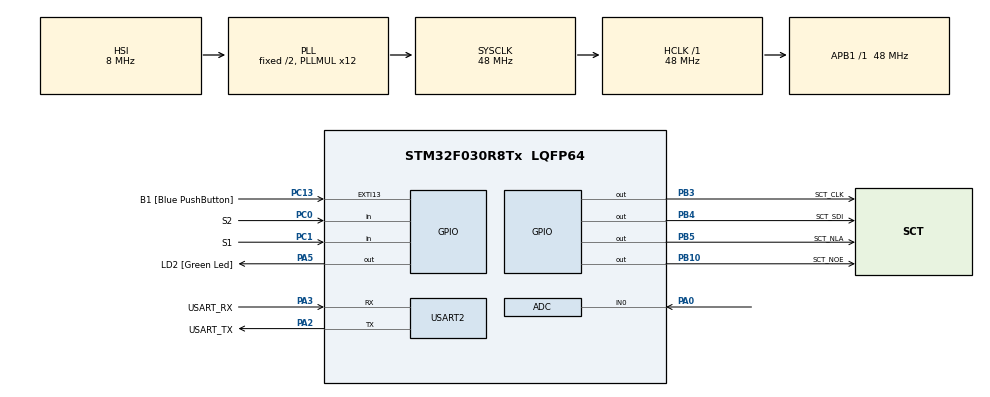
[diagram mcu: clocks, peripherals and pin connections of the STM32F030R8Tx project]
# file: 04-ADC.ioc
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ADC.ContinuousConvMode=ENABLE
ADC.Overrun=ADC_OVR_DATA_OVERWRITTEN
ADC.SamplingTime=ADC_SAMPLETIME_239CYCLES_5
Mcu.Family=STM32F0
Mcu.Name=STM32F030R8Tx
Mcu.Package=LQFP64
NVIC.ADC1_IRQn=true\:0\:0\:false\:false\:true\:true\:true\:true
PA0.Mode=IN0
PA0.Signal=ADC_IN0
PA13.GPIO_Label=TMS
PA13.Mode=Serial_Wire
PA13.Signal=SYS_SWDIO
PA14.GPIO_Label=TCK
PA14.Mode=Serial_Wire
PA14.Signal=SYS_SWCLK
PA2.GPIO_Label=USART_TX
PA2.GPIO_Mode=GPIO_MODE_AF_PP
PA2.GPIO_PuPd=GPIO_NOPULL
PA2.GPIO_Speed=GPIO_SPEED_FREQ_LOW
PA2.Mode=Asynchronous
PA2.Signal=USART2_TX
PA3.GPIO_Label=USART_RX
PA3.GPIO_Mode=GPIO_MODE_AF_PP
PA3.GPIO_PuPd=GPIO_NOPULL
PA3.GPIO_Speed=GPIO_SPEED_FREQ_LOW
PA3.Mode=Asynchronous
PA3.Signal=USART2_RX
PA5.GPIO_Label=LD2 [Green Led]
PA5.GPIO_Mode=GPIO_MODE_OUTPUT_PP
PA5.GPIO_PuPd=GPIO_NOPULL
PA5.GPIO_Speed=GPIO_SPEED_FREQ_LOW
PA5.Signal=GPIO_Output
PB10.GPIO_Label=SCT_NOE
PB10.Signal=GPIO_Output
PB3.GPIO_Label=SCT_CLK
PB3.Signal=GPIO_Output
PB4.GPIO_Label=SCT_SDI
PB4.Signal=GPIO_Output
PB5.GPIO_Label=SCT_NLA
PB5.Signal=GPIO_Output
PC0.GPIO_Label=S2
PC0.GPIO_PuPd=GPIO_PULLUP
PC0.Signal=GPIO_Input
PC1.GPIO_Label=S1
PC1.GPIO_PuPd=GPIO_PULLUP
PC1.Signal=GPIO_Input
PC13.GPIO_Label=B1 [Blue PushButton]
PC13.GPIO_ModeDefaultEXTI=GPIO_MODE_IT_FALLING
PC13.Signal=GPXTI13
PC14-OSC32_IN.Mode=LSE-External-Oscillator
PC14-OSC32_IN.Signal=RCC_OSC32_IN
PC15-OSC32_OUT.Mode=LSE-External-Oscillator
PC15-OSC32_OUT.Signal=RCC_OSC32_OUT
PF0-OSC_IN.Mode=HSE-External-Clock-Source
PF0-OSC_IN.Signal=RCC_OSC_IN
PF1-OSC_OUT.Signal=RCC_OSC_OUT
ProjectManager.HeapSize=0x200
ProjectManager.StackSize=0x400
ProjectManager.TargetToolchain=STM32CubeIDE
RCC.AHBFreq_Value=48000000
RCC.APB1Freq_Value=48000000
RCC.APB1TimFreq_Value=48000000
RCC.HCLKFreq_Value=48000000
RCC.PLLMUL=RCC_PLL_MUL12
RCC.SYSCLKFreq_VALUE=48000000
RCC.SYSCLKSource=RCC_SYSCLKSOURCE_PLLCLK
USART2.VirtualMode-Asynchronous=VM_ASYNC
VP_ADC_TempSens_Input.Mode=IN-TempSens
VP_ADC_Vref_Input.Mode=IN-Vrefint
board=NUCLEO-F030R8

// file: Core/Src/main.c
/* USER CODE BEGIN Header */
/**
  ******************************************************************************
  * @file           : main.c
  * @brief          : Main program body
  ******************************************************************************
  * @attention
  *
  * Copyright (c) 2024 STMicroelectronics.
  * All rights reserved.
  *
  * This software is licensed under terms that can be found in the LICENSE file
  * in the root directory of this software component.
  * If no LICENSE file comes with this software, it is provided AS-IS.
  *
  ******************************************************************************
  */
/* USER CODE END Header */
#include "main.h"

/* USER CODE BEGIN Includes */

#include "sct.h"

/* USER CODE END Includes */

/* USER CODE BEGIN PD */

#define ADC_Q 6

/* Temperature sensor calibration value address */
#define TEMP110_CAL_ADDR ((uint16_t*) ((uint32_t) 0x1FFFF7C2))
#define TEMP30_CAL_ADDR ((uint16_t*) ((uint32_t) 0x1FFFF7B8))
/* Internal voltage reference calibration value address */
#define VREFINT_CAL_ADDR ((uint16_t*) ((uint32_t) 0x1FFFF7BA))

/* USER CODE END PD */

ADC_HandleTypeDef hadc;

UART_HandleTypeDef huart2;

/* USER CODE BEGIN PV */

static volatile uint32_t raw_pot;
static volatile uint32_t raw_temp;
static volatile uint32_t raw_volt;

static uint32_t avg_pot;

/* USER CODE END PV */

void SystemClock_Config(void);
static void MX_GPIO_Init(void);
static void MX_USART2_UART_Init(void);
static void MX_ADC_Init(void);

/* USER CODE BEGIN 0 */

// this function is already declared somwhere in library bu it has "weak" parameter that means that we can declare it here again with our code
void HAL_ADC_ConvCpltCallback(ADC_HandleTypeDef* hadc)
{
	 //raw_pot = HAL_ADC_GetValue(hadc);

	static uint8_t channel = 0;

	switch (channel)
	{
		case 0:	// IN0 -> Potentiometer
			//Exponential smoothing of ADC value
			raw_pot = avg_pot >> ADC_Q;
			avg_pot -= raw_pot;
			avg_pot += HAL_ADC_GetValue(hadc);
			break;	// break makes processor jump out of switch
		case 1:	// Temperature
			raw_temp = HAL_ADC_GetValue(hadc);
			break;
		case 2:	// Voltage
			raw_volt = HAL_ADC_GetValue(hadc);
			break;
		default:

			break;
	}

	if (__HAL_ADC_GET_FLAG(hadc, ADC_FLAG_EOS)) channel = 0;
	else channel++;

}

/* USER CODE END 0 */

int main(void)
{

  /* MCU Configuration--------------------------------------------------------*/

  /* Reset of all peripherals, Initializes the Flash interface and the Systick. */
  HAL_Init();

  /* Configure the system clock */
  SystemClock_Config();

  /* Initialize all configured peripherals */
  MX_GPIO_Init();
  MX_USART2_UART_Init();
  MX_ADC_Init();
  /* USER CODE BEGIN 2 */

  //adc calibration and start
  HAL_ADCEx_Calibration_Start(&hadc);
  HAL_ADC_Start_IT(&hadc);

  // display init
  sct_init();
  sct_led(0x7A5C36DE);
  HAL_Delay(500);

  /* USER CODE END 2 */

  /* Infinite loop */
  /* USER CODE BEGIN WHILE */
  while (1)
  {

	  static enum { SHOW_POT, SHOW_VOLT, SHOW_TEMP } state = SHOW_POT;

	  static uint32_t prevTime;

	  if (!HAL_GPIO_ReadPin(S2_GPIO_Port,S2_Pin))
	  {
		  state = SHOW_VOLT;
		  prevTime = HAL_GetTick();
	  }

	  if (!HAL_GPIO_ReadPin(S1_GPIO_Port,S1_Pin))
	  {
		  state = SHOW_TEMP;
		  prevTime = HAL_GetTick();
	  }

	  switch (state)
	  {
		  case SHOW_POT:
			  sct_value(((avg_pot >> ADC_Q)*500.9)/4095, (raw_pot*1.1)/512);
			  break;
		  case SHOW_VOLT:
			  sct_value(330 * (*VREFINT_CAL_ADDR) / raw_volt, 8);
			  break;
		  default:	//SHOW_TEMP
			  int32_t temperature = (raw_temp - (int32_t)(*TEMP30_CAL_ADDR));
			  temperature = temperature * (int32_t)(110 - 30);
			  temperature = temperature / (int32_t)(*TEMP110_CAL_ADDR - *TEMP30_CAL_ADDR);
			  temperature = temperature + 30;

			  sct_value(temperature, 8);
			  break;
	  }

	  if ((HAL_GetTick() - prevTime) > 1000)
	  {
		  state = SHOW_POT;
	  }

	  //HAL_ADC_ConvCpltCallback(&hadc);
	  //sct_value(((avg_pot >> ADC_Q)*500.9)/4095, (raw_pot*1.1)/512);
	  //HAL_Delay(100);

    /* USER CODE END WHILE */

  }
}

void SystemClock_Config(void)
{
  RCC_OscInitTypeDef RCC_OscInitStruct = {0};
  RCC_ClkInitTypeDef RCC_ClkInitStruct = {0};

  /** Initializes the RCC Oscillators according to the specified parameters
  * in the RCC_OscInitTypeDef structure.
  */
  RCC_OscInitStruct.OscillatorType = RCC_OSCILLATORTYPE_HSI|RCC_OSCILLATORTYPE_HSI14;
  RCC_OscInitStruct.HSIState = RCC_HSI_ON;
  RCC_OscInitStruct.HSI14State = RCC_HSI14_ON;
  RCC_OscInitStruct.HSICalibrationValue = RCC_HSICALIBRATION_DEFAULT;
  RCC_OscInitStruct.HSI14CalibrationValue = 16;
  RCC_OscInitStruct.PLL.PLLState = RCC_PLL_ON;
  RCC_OscInitStruct.PLL.PLLSource = RCC_PLLSOURCE_HSI;
  RCC_OscInitStruct.PLL.PLLMUL = RCC_PLL_MUL12;
  RCC_OscInitStruct.PLL.PREDIV = RCC_PREDIV_DIV1;
  if (HAL_RCC_OscConfig(&RCC_OscInitStruct) != HAL_OK)
  {
    Error_Handler();
  }

  /** Initializes the CPU, AHB and APB buses clocks
  */
  RCC_ClkInitStruct.ClockType = RCC_CLOCKTYPE_HCLK|RCC_CLOCKTYPE_SYSCLK
                              |RCC_CLOCKTYPE_PCLK1;
  RCC_ClkInitStruct.SYSCLKSource = RCC_SYSCLKSOURCE_PLLCLK;
  RCC_ClkInitStruct.AHBCLKDivider = RCC_SYSCLK_DIV1;
  RCC_ClkInitStruct.APB1CLKDivider = RCC_HCLK_DIV1;

  if (HAL_RCC_ClockConfig(&RCC_ClkInitStruct, FLASH_LATENCY_1) != HAL_OK)
  {
    Error_Handler();
  }
}

static void MX_ADC_Init(void)
{

  ADC_ChannelConfTypeDef sConfig = {0};

  /** Configure the global features of the ADC (Clock, Resolution, Data Alignment and number of conversion)
  */
  hadc.Instance = ADC1;
  hadc.Init.ClockPrescaler = ADC_CLOCK_ASYNC_DIV1;
  hadc.Init.Resolution = ADC_RESOLUTION_12B;
  hadc.Init.DataAlign = ADC_DATAALIGN_RIGHT;
  hadc.Init.ScanConvMode = ADC_SCAN_DIRECTION_FORWARD;
  hadc.Init.EOCSelection = ADC_EOC_SINGLE_CONV;
  hadc.Init.LowPowerAutoWait = DISABLE;
  hadc.Init.LowPowerAutoPowerOff = DISABLE;
  hadc.Init.ContinuousConvMode = ENABLE;
  hadc.Init.DiscontinuousConvMode = DISABLE;
  hadc.Init.ExternalTrigConv = ADC_SOFTWARE_START;
  hadc.Init.ExternalTrigConvEdge = ADC_EXTERNALTRIGCONVEDGE_NONE;
  hadc.Init.DMAContinuousRequests = DISABLE;
  hadc.Init.Overrun = ADC_OVR_DATA_OVERWRITTEN;
  if (HAL_ADC_Init(&hadc) != HAL_OK)
  {
    Error_Handler();
  }

  /** Configure for the selected ADC regular channel to be converted.
  */
  sConfig.Channel = ADC_CHANNEL_0;
  sConfig.Rank = ADC_RANK_CHANNEL_NUMBER;
  sConfig.SamplingTime = ADC_SAMPLETIME_239CYCLES_5;
  if (HAL_ADC_ConfigChannel(&hadc, &sConfig) != HAL_OK)
  {
    Error_Handler();
  }

  /** Configure for the selected ADC regular channel to be converted.
  */
  sConfig.Channel = ADC_CHANNEL_TEMPSENSOR;
  if (HAL_ADC_ConfigChannel(&hadc, &sConfig) != HAL_OK)
  {
    Error_Handler();
  }

  /** Configure for the selected ADC regular channel to be converted.
  */
  sConfig.Channel = ADC_CHANNEL_VREFINT;
  if (HAL_ADC_ConfigChannel(&hadc, &sConfig) != HAL_OK)
  {
    Error_Handler();
  }

}

static void MX_USART2_UART_Init(void)
{

  huart2.Instance = USART2;
  huart2.Init.BaudRate = 38400;
  huart2.Init.WordLength = UART_WORDLENGTH_8B;
  huart2.Init.StopBits = UART_STOPBITS_1;
  huart2.Init.Parity = UART_PARITY_NONE;
  huart2.Init.Mode = UART_MODE_TX_RX;
  huart2.Init.HwFlowCtl = UART_HWCONTROL_NONE;
  huart2.Init.OverSampling = UART_OVERSAMPLING_16;
  huart2.Init.OneBitSampling = UART_ONE_BIT_SAMPLE_DISABLE;
  huart2.AdvancedInit.AdvFeatureInit = UART_ADVFEATURE_NO_INIT;
  if (HAL_UART_Init(&huart2) != HAL_OK)
  {
    Error_Handler();
  }

}

static void MX_GPIO_Init(void)
{
  GPIO_InitTypeDef GPIO_InitStruct = {0};

  /* GPIO Ports Clock Enable */
  __HAL_RCC_GPIOC_CLK_ENABLE();
  __HAL_RCC_GPIOF_CLK_ENABLE();
  __HAL_RCC_GPIOA_CLK_ENABLE();
  __HAL_RCC_GPIOB_CLK_ENABLE();

  /*Configure GPIO pin Output Level */
  HAL_GPIO_WritePin(LD2_GPIO_Port, LD2_Pin, GPIO_PIN_RESET);

  /*Configure GPIO pin Output Level */
  HAL_GPIO_WritePin(GPIOB, SCT_NOE_Pin|SCT_CLK_Pin|SCT_SDI_Pin|SCT_NLA_Pin, GPIO_PIN_RESET);

  /*Configure GPIO pin : B1_Pin */
  GPIO_InitStruct.Pin = B1_Pin;
  GPIO_InitStruct.Mode = GPIO_MODE_IT_FALLING;
  GPIO_InitStruct.Pull = GPIO_NOPULL;
  HAL_GPIO_Init(B1_GPIO_Port, &GPIO_InitStruct);

  /*Configure GPIO pins : S2_Pin S1_Pin */
  GPIO_InitStruct.Pin = S2_Pin|S1_Pin;
  GPIO_InitStruct.Mode = GPIO_MODE_INPUT;
  GPIO_InitStruct.Pull = GPIO_PULLUP;
  HAL_GPIO_Init(GPIOC, &GPIO_InitStruct);

  /*Configure GPIO pin : LD2_Pin */
  GPIO_InitStruct.Pin = LD2_Pin;
  GPIO_InitStruct.Mode = GPIO_MODE_OUTPUT_PP;
  GPIO_InitStruct.Pull = GPIO_NOPULL;
  GPIO_InitStruct.Speed = GPIO_SPEED_FREQ_LOW;
  HAL_GPIO_Init(LD2_GPIO_Port, &GPIO_InitStruct);

  /*Configure GPIO pins : SCT_NOE_Pin SCT_CLK_Pin SCT_SDI_Pin SCT_NLA_Pin */
  GPIO_InitStruct.Pin = SCT_NOE_Pin|SCT_CLK_Pin|SCT_SDI_Pin|SCT_NLA_Pin;
  GPIO_InitStruct.Mode = GPIO_MODE_OUTPUT_PP;
  GPIO_InitStruct.Pull = GPIO_NOPULL;
  GPIO_InitStruct.Speed = GPIO_SPEED_FREQ_LOW;
  HAL_GPIO_Init(GPIOB, &GPIO_InitStruct);

}

void Error_Handler(void)
{
  __disable_irq();
  while (1)
  {
  }
}
